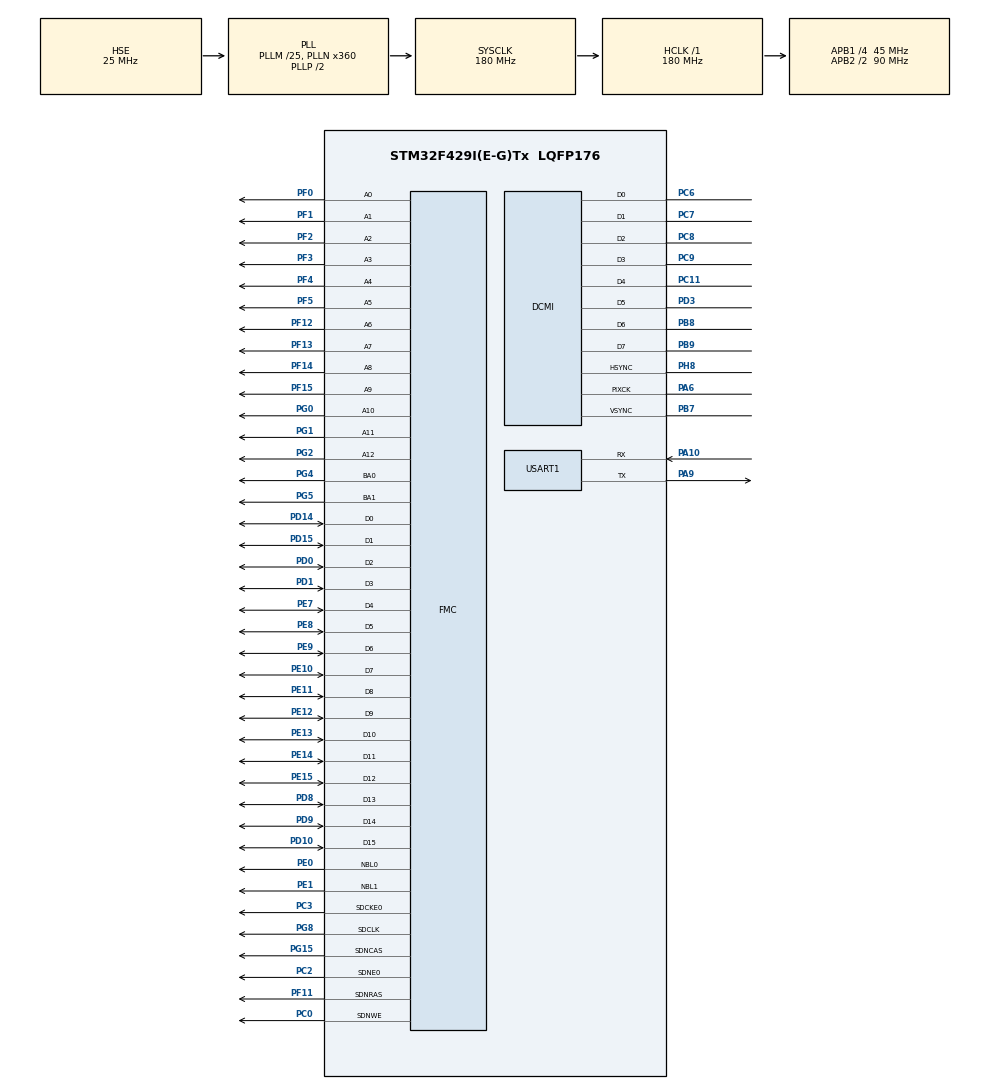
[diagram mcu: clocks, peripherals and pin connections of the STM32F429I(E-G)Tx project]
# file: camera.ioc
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DCMI.PCKPolarity=DCMI_PCKPOLARITY_RISING
Dma.DCMI.0.Direction=DMA_PERIPH_TO_MEMORY
Dma.DCMI.0.FIFOMode=DMA_FIFOMODE_ENABLE
Dma.DCMI.0.FIFOThreshold=DMA_FIFO_THRESHOLD_HALFFULL
Dma.DCMI.0.Instance=DMA2_Stream1
Dma.DCMI.0.MemBurst=DMA_MBURST_SINGLE
Dma.DCMI.0.MemDataAlignment=DMA_MDATAALIGN_WORD
Dma.DCMI.0.MemInc=DMA_MINC_ENABLE
Dma.DCMI.0.Mode=DMA_CIRCULAR
Dma.DCMI.0.PeriphBurst=DMA_PBURST_SINGLE
Dma.DCMI.0.PeriphDataAlignment=DMA_PDATAALIGN_WORD
Dma.DCMI.0.PeriphInc=DMA_PINC_DISABLE
Dma.DCMI.0.Priority=DMA_PRIORITY_HIGH
Dma.Request0=DCMI
FMC.CASLatency1=FMC_SDRAM_CAS_LATENCY_3
FMC.ColumnBitsNumber1=FMC_SDRAM_COLUMN_BITS_NUM_9
FMC.ExitSelfRefreshDelay1=8
FMC.LoadToActiveDelay1=2
FMC.RCDDelay1=2
FMC.RPDelay1=2
FMC.RPDelay2=2
FMC.ReadBurst1=FMC_SDRAM_RBURST_ENABLE
FMC.ReadBurst2=FMC_SDRAM_RBURST_ENABLE
FMC.ReadPipeDelay1=FMC_SDRAM_RPIPE_DELAY_1
FMC.ReadPipeDelay2=FMC_SDRAM_RPIPE_DELAY_1
FMC.RowCycleDelay1=6
FMC.RowCycleDelay2=6
FMC.SDClockPeriod1=FMC_SDRAM_CLOCK_PERIOD_2
FMC.SDClockPeriod2=FMC_SDRAM_CLOCK_PERIOD_2
FMC.SelfRefreshTime1=6
FMC.WriteRecoveryTime1=4
Mcu.Family=STM32F4
Mcu.Name=STM32F429I(E-G)Tx
Mcu.Package=LQFP176
NVIC.DCMI_IRQn=true\:0\:0\:false\:false\:true\:true
NVIC.DMA2_Stream1_IRQn=true\:0\:0\:false\:false\:true\:false
NVIC.PriorityGroup=NVIC_PRIORITYGROUP_4
PA10.Mode=Asynchronous
PA10.Signal=USART1_RX
PA6.GPIO_PuPd=GPIO_PULLUP
PA6.GPIO_Speed=GPIO_SPEED_FREQ_HIGH
PA6.Mode=Slave_8_bits_External_Synchro
PA6.Signal=DCMI_PIXCK
PA9.Mode=Asynchronous
PA9.Signal=USART1_TX
PB7.GPIO_PuPd=GPIO_PULLUP
PB7.GPIO_Speed=GPIO_SPEED_FREQ_HIGH
PB7.Mode=Slave_8_bits_External_Synchro
PB7.Signal=DCMI_VSYNC
PB8.GPIO_PuPd=GPIO_PULLUP
PB8.GPIO_Speed=GPIO_SPEED_FREQ_HIGH
PB8.Mode=Slave_8_bits_External_Synchro
PB8.Signal=DCMI_D6
PB9.GPIO_PuPd=GPIO_PULLUP
PB9.GPIO_Speed=GPIO_SPEED_FREQ_HIGH
PB9.Mode=Slave_8_bits_External_Synchro
PB9.Signal=DCMI_D7
PC0.Signal=FMC_SDNWE
PC11.GPIO_PuPd=GPIO_PULLUP
PC11.GPIO_Speed=GPIO_SPEED_FREQ_HIGH
PC11.Mode=Slave_8_bits_External_Synchro
PC11.Signal=DCMI_D4
PC2.Mode=SdramChipSelect1_1
PC2.Signal=FMC_SDNE0
PC3.Mode=SdramChipSelect1_1
PC3.Signal=FMC_SDCKE0
PC6.GPIO_PuPd=GPIO_PULLUP
PC6.GPIO_Speed=GPIO_SPEED_FREQ_HIGH
PC6.Mode=Slave_8_bits_External_Synchro
PC6.Signal=DCMI_D0
PC7.GPIO_PuPd=GPIO_PULLUP
PC7.GPIO_Speed=GPIO_SPEED_FREQ_HIGH
PC7.Mode=Slave_8_bits_External_Synchro
PC7.Signal=DCMI_D1
PC8.GPIO_PuPd=GPIO_PULLUP
PC8.GPIO_Speed=GPIO_SPEED_FREQ_HIGH
PC8.Mode=Slave_8_bits_External_Synchro
PC8.Signal=DCMI_D2
PC9.GPIO_PuPd=GPIO_PULLUP
PC9.GPIO_Speed=GPIO_SPEED_FREQ_HIGH
PC9.Mode=Slave_8_bits_External_Synchro
PC9.Signal=DCMI_D3
PD0.Signal=FMC_D2_DA2
PD1.Signal=FMC_D3_DA3
PD10.Signal=FMC_D15_DA15
PD14.Signal=FMC_D0_DA0
PD15.Signal=FMC_D1_DA1
PD3.GPIO_PuPd=GPIO_PULLUP
PD3.GPIO_Speed=GPIO_SPEED_FREQ_HIGH
PD3.Mode=Slave_8_bits_External_Synchro
PD3.Signal=DCMI_D5
PD8.Signal=FMC_D13_DA13
PD9.Signal=FMC_D14_DA14
PE0.Signal=FMC_NBL0
PE1.Signal=FMC_NBL1
PE10.Signal=FMC_D7_DA7
PE11.Signal=FMC_D8_DA8
PE12.Signal=FMC_D9_DA9
PE13.Signal=FMC_D10_DA10
PE14.Signal=FMC_D11_DA11
PE15.Signal=FMC_D12_DA12
PE7.Signal=FMC_D4_DA4
PE8.Signal=FMC_D5_DA5
PE9.Signal=FMC_D6_DA6
PF0.Signal=FMC_A0
PF1.Signal=FMC_A1
PF11.Signal=FMC_SDNRAS
PF12.Signal=FMC_A6
PF13.Signal=FMC_A7
PF14.Signal=FMC_A8
PF15.Signal=FMC_A9
PF2.Signal=FMC_A2
PF3.Signal=FMC_A3
PF4.Signal=FMC_A4
PF5.Signal=FMC_A5
PG0.Signal=FMC_A10
PG1.Signal=FMC_A11
PG15.Signal=FMC_SDNCAS
PG2.Signal=FMC_A12
PG4.Signal=FMC_A14_BA0
PG5.Signal=FMC_A15_BA1
PG8.Signal=FMC_SDCLK
PH0/OSC_IN.Mode=HSE-External-Oscillator
PH0/OSC_IN.Signal=RCC_OSC_IN
PH1/OSC_OUT.Mode=HSE-External-Oscillator
PH1/OSC_OUT.Signal=RCC_OSC_OUT
PH8.GPIO_PuPd=GPIO_PULLUP
PH8.GPIO_Speed=GPIO_SPEED_FREQ_HIGH
PH8.Mode=Slave_8_bits_External_Synchro
PH8.Signal=DCMI_HSYNC
ProjectManager.HeapSize=0x200
ProjectManager.StackSize=0x400
ProjectManager.TargetToolchain=MDK-ARM V5
RCC.48MHZClocksFreq_Value=90000000
RCC.AHBFreq_Value=180000000
RCC.APB1CLKDivider=RCC_HCLK_DIV4
RCC.APB1Freq_Value=45000000
RCC.APB1TimFreq_Value=90000000
RCC.APB2CLKDivider=RCC_HCLK_DIV2
RCC.APB2Freq_Value=90000000
RCC.APB2TimFreq_Value=180000000
RCC.CortexFreq_Value=180000000
RCC.HCLKFreq_Value=180000000
RCC.HSE_VALUE=25000000
RCC.HSI_VALUE=16000000
RCC.LSE_VALUE=32768
RCC.PLLM=25
RCC.PLLN=360
RCC.PLLSourceVirtual=RCC_PLLSOURCE_HSE
RCC.SYSCLKFreq_VALUE=180000000
RCC.SYSCLKSource=RCC_SYSCLKSOURCE_PLLCLK
RCC.VCOOutputFreq_Value=360000000
SH.FMC_A0.0=FMC_A0,13b-sda1
SH.FMC_A1.0=FMC_A1,13b-sda1
SH.FMC_A10.0=FMC_A10,13b-sda1
SH.FMC_A11.0=FMC_A11,13b-sda1
SH.FMC_A12.0=FMC_A12,13b-sda1
SH.FMC_A14_BA0.0=FMC_BA0,FourSdramBanks1
SH.FMC_A15_BA1.0=FMC_BA1,FourSdramBanks1
SH.FMC_A2.0=FMC_A2,13b-sda1
SH.FMC_A3.0=FMC_A3,13b-sda1
SH.FMC_A4.0=FMC_A4,13b-sda1
SH.FMC_A5.0=FMC_A5,13b-sda1
SH.FMC_A6.0=FMC_A6,13b-sda1
SH.FMC_A7.0=FMC_A7,13b-sda1
SH.FMC_A8.0=FMC_A8,13b-sda1
SH.FMC_A9.0=FMC_A9,13b-sda1
SH.FMC_D0_DA0.0=FMC_D0,sd-16b-d1
SH.FMC_D10_DA10.0=FMC_D10,sd-16b-d1
SH.FMC_D11_DA11.0=FMC_D11,sd-16b-d1
SH.FMC_D12_DA12.0=FMC_D12,sd-16b-d1
SH.FMC_D13_DA13.0=FMC_D13,sd-16b-d1
SH.FMC_D14_DA14.0=FMC_D14,sd-16b-d1
SH.FMC_D15_DA15.0=FMC_D15,sd-16b-d1
SH.FMC_D1_DA1.0=FMC_D1,sd-16b-d1
SH.FMC_D2_DA2.0=FMC_D2,sd-16b-d1
SH.FMC_D3_DA3.0=FMC_D3,sd-16b-d1
SH.FMC_D4_DA4.0=FMC_D4,sd-16b-d1
SH.FMC_D5_DA5.0=FMC_D5,sd-16b-d1
SH.FMC_D6_DA6.0=FMC_D6,sd-16b-d1
SH.FMC_D7_DA7.0=FMC_D7,sd-16b-d1
SH.FMC_D8_DA8.0=FMC_D8,sd-16b-d1
SH.FMC_D9_DA9.0=FMC_D9,sd-16b-d1
SH.FMC_NBL0.0=FMC_NBL0,Sd2ByteEnable1
SH.FMC_NBL1.0=FMC_NBL1,Sd2ByteEnable1
SH.FMC_SDCLK.0=FMC_SDCLK,13b-sda1
SH.FMC_SDNCAS.0=FMC_SDNCAS,13b-sda1
SH.FMC_SDNRAS.0=FMC_SDNRAS,13b-sda1
SH.FMC_SDNWE.0=FMC_SDNWE,13b-sda1
USART1.VirtualMode=VM_ASYNC
board=camera

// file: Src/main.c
/**
  ******************************************************************************
  * File Name          : main.c
  * Description        : Main program body
  ******************************************************************************
  ** This notice applies to any and all portions of this file
  * that are not between comment pairs USER CODE BEGIN and
  * USER CODE END. Other portions of this file, whether
  * inserted by the user or by software development tools
  * are owned by their respective copyright owners.
  *
  * COPYRIGHT(c) 2018 STMicroelectronics
  *
  * Redistribution and use in source and binary forms, with or without modification,
  * are permitted provided that the following conditions are met:
  *   1. Redistributions of source code must retain the above copyright notice,
  *      this list of conditions and the following disclaimer.
  *   2. Redistributions in binary form must reproduce the above copyright notice,
  *      this list of conditions and the following disclaimer in the documentation
  *      and/or other materials provided with the distribution.
  *   3. Neither the name of STMicroelectronics nor the names of its contributors
  *      may be used to endorse or promote products derived from this software
  *      without specific prior written permission.
  *
  * THIS SOFTWARE IS PROVIDED BY THE COPYRIGHT HOLDERS AND CONTRIBUTORS "AS IS"
  * AND ANY EXPRESS OR IMPLIED WARRANTIES, INCLUDING, BUT NOT LIMITED TO, THE
  * IMPLIED WARRANTIES OF MERCHANTABILITY AND FITNESS FOR A PARTICULAR PURPOSE ARE
  * DISCLAIMED. IN NO EVENT SHALL THE COPYRIGHT HOLDER OR CONTRIBUTORS BE LIABLE
  * FOR ANY DIRECT, INDIRECT, INCIDENTAL, SPECIAL, EXEMPLARY, OR CONSEQUENTIAL
  * DAMAGES (INCLUDING, BUT NOT LIMITED TO, PROCUREMENT OF SUBSTITUTE GOODS OR
  * SERVICES; LOSS OF USE, DATA, OR PROFITS; OR BUSINESS INTERRUPTION) HOWEVER
  * CAUSED AND ON ANY THEORY OF LIABILITY, WHETHER IN CONTRACT, STRICT LIABILITY,
  * OR TORT (INCLUDING NEGLIGENCE OR OTHERWISE) ARISING IN ANY WAY OUT OF THE USE
  * OF THIS SOFTWARE, EVEN IF ADVISED OF THE POSSIBILITY OF SUCH DAMAGE.
  *
  ******************************************************************************
  */

#include "main.h"
#include "stm32f4xx_hal.h"

/* USER CODE BEGIN Includes */
#include "stdio.h"
#include "sys.h"
#include "pcf8574.h"
#include "led.h"
#include "ov5640.h"
#include "dcmi.h"
/* USER CODE END Includes */

DCMI_HandleTypeDef hdcmi;
DMA_HandleTypeDef hdma_dcmi;

UART_HandleTypeDef huart1;

SDRAM_HandleTypeDef hsdram1;

/* USER CODE BEGIN PV */
/* Private variables ---------------------------------------------------------*/
void SDRAM_Initialization_Sequence(SDRAM_HandleTypeDef *hsdram);
/* USER CODE END PV */

void SystemClock_Config(void);
static void MX_GPIO_Init(void);
static void MX_DMA_Init(void);
static void MX_FMC_Init(void);
static void MX_USART1_UART_Init(void);
static void MX_DCMI_Init(void);

/* USER CODE BEGIN PFP */
/* Private function prototypes -----------------------------------------------*/

/* USER CODE END PFP */

/* USER CODE BEGIN 0 */

int fputc(int ch, FILE *pf)
{
    uint8_t c = ch & 0xff;
    HAL_UART_Transmit(&huart1, &c, 1, 0xfffff);
    return ch;
}

#define jpeg_buf_size   30*1024*1024		//定义JPEG数据缓存jpeg_buf的大小(1*4M字节)
#define jpeg_line_size	2*1024			//定义DMA接收数据时,一行数据的最大值

u32 dcmi_line_buf[2][jpeg_line_size] ;	//RGB屏时,摄像头采用一行一行读取,定义行缓存
u32 jpeg_data_buf[jpeg_buf_size] __attribute__((at(0XC0000000+1280*800*2)));//JPEG数据缓存buf,定义在LCD帧缓存之后

volatile u32 jpeg_data_len=0; 			//buf中的JPEG有效数据长度
volatile u8 jpeg_data_ok=0;				//JPEG数据采集完成标志
										//0,数据没有采集完;
										//1,数据采集完了,但是还没处理;
										//2,数据已经处理完成了,可以开始下一帧接收

//处理JPEG数据
//当采集完一帧JPEG数据后,调用此函数,切换JPEG BUF.开始下一帧采集.
void jpeg_data_process(void)
{
	u16 i;
	u16 rlen;//剩余数据长度
	u32 *pbuf;
    printf("00");
    if(jpeg_data_ok==0)	//jpeg数据还未采集完?
    {
        LED1=!LED1;
        __HAL_DMA_DISABLE(&hdma_dcmi);//关闭DMA
        rlen=jpeg_line_size-__HAL_DMA_GET_COUNTER(&hdma_dcmi);//得到剩余数据长度
        pbuf=jpeg_data_buf+jpeg_data_len;//偏移到有效数据末尾,继续添加
        if(hdma_dcmi.Instance->CR&(1<<19))for(i=0;i<rlen;i++)pbuf[i]=dcmi_line_buf[1][i];//读取buf1里面的剩余数据
        else for(i=0;i<rlen;i++)pbuf[i]=dcmi_line_buf[0][i];//读取buf0里面的剩余数据
        jpeg_data_len+=rlen;			//加上剩余长度
        jpeg_data_ok=1; 				//标记JPEG数据采集完成,等待其他函数处理
    }
    if(jpeg_data_ok==2)	//上一次的jpeg数据已经被处理了
    {

        __HAL_DMA_SET_COUNTER(&hdma_dcmi,jpeg_line_size);	//传输长度为jpeg_buf_size*4字节
        __HAL_DMA_ENABLE(&hdma_dcmi); //打开DMA
        jpeg_data_ok=0;					    //标记数据未采集
        jpeg_data_len=0;				    //数据重新开始
    }

}

//jpeg数据接收回调函数
void jpeg_dcmi_rx_callback(void)
{
	u16 i;
	u32 *pbuf;
    printf("11");
	pbuf=jpeg_data_buf+jpeg_data_len;//偏移到有效数据末尾
	if(hdma_dcmi.Instance->CR&(1<<19))//buf0已满,正常处理buf1
	{
		for(i=0;i<jpeg_line_size;i++)pbuf[i]=dcmi_line_buf[0][i];//读取buf0里面的数据
		jpeg_data_len+=jpeg_line_size;//偏移
	}else //buf1已满,正常处理buf0
	{
		for(i=0;i<jpeg_line_size;i++)pbuf[i]=dcmi_line_buf[1][i];//读取buf1里面的数据
		jpeg_data_len+=jpeg_line_size;//偏移
	}
}

//JPEG尺寸支持列表(最大是800*600,如果分辨率再高,上位机会死...)
const u16 jpeg_img_size_tbl[][2]=
{
	160,120,	//QQVGA
	176,144,	//QCIF
	320,240,	//QVGA
	400,240,	//WQVGA
	352,288,	//CIF
	640,480,	//VGA
	800,600,	//SVGA
};
const u8*EFFECTS_TBL[7]={"Normal","Cool","Warm","B&W","Yellowish ","Inverse","Greenish"};	//7种特效
const u8*JPEG_SIZE_TBL[7]={"QQVGA","QCIF","QVGA","WQVGA","CIF","VGA","SVGA"};				//JPEG图片 7种尺寸

void jpeg_test(void)
{
	u32 i,jpgstart,jpglen;
	u8 *p;
	u8 key,headok=0;
	u8 effect=0,contrast=2;
	u8 size=2;			//默认是QVGA 320*240尺寸
	u8 msgbuf[15];		//消息缓存区

	//自动对焦初始化
	OV5640_RGB565_Mode();	//RGB565模式
	OV5640_Focus_Init();

 	OV5640_JPEG_Mode();		//JPEG模式

	OV5640_Light_Mode(0);	//自动模式
	OV5640_Color_Saturation(3);//色彩饱和度0
	OV5640_Brightness(4);	//亮度0
	OV5640_Contrast(3);		//对比度0
	OV5640_Sharpness(33);	//自动锐度
	OV5640_Focus_Constant();//启动持续对焦

	//MX_DCMI_Init();//DCMI_Init();			//DCMI配置
	dcmi_rx_callback=jpeg_dcmi_rx_callback;//JPEG接收数据回调函数
    DCMI_DMA_Init((u32)&dcmi_line_buf[0],(u32)&dcmi_line_buf[1],jpeg_line_size,DMA_MDATAALIGN_WORD,DMA_MINC_ENABLE);
 	OV5640_OutSize_Set(4,0,jpeg_img_size_tbl[size][0],jpeg_img_size_tbl[size][1]);//设置输出尺寸
	DCMI_Start(); 		//启动传输
	while(1)
	{
		if(jpeg_data_ok==1)	//已经采集完一帧图像了
		{
			p=(u8*)jpeg_data_buf;

			jpglen=0;	//设置jpg文件大小为0
			headok=0;	//清除jpg头标记
			for(i=0;i<jpeg_data_len*4;i++)//查找0XFF,0XD8和0XFF,0XD9,获取jpg文件大小
			{
				if((p[i]==0XFF)&&(p[i+1]==0XD8))//找到FF D8
				{
					jpgstart=i;
					headok=1;	//标记找到jpg头(FF D8)
				}
				if((p[i]==0XFF)&&(p[i+1]==0XD9)&&headok)//找到头以后,再找FF D9
				{
					jpglen=i-jpgstart+2;
					break;
				}
			}
			jpeg_data_ok=2;	//标记jpeg数据处理完了,可以让DMA去采集下一帧了.

		}
	}
}

/* USER CODE END 0 */

int main(void)
{

  /* USER CODE BEGIN 1 */
    int res;
  /* USER CODE END 1 */

  /* MCU Configuration----------------------------------------------------------*/

  /* Reset of all peripherals, Initializes the Flash interface and the Systick. */
  HAL_Init();

  /* Configure the system clock */
  SystemClock_Config();

  /* Initialize all configured peripherals */
  MX_GPIO_Init();
  MX_DMA_Init();
  MX_FMC_Init();
  MX_USART1_UART_Init();
  MX_DCMI_Init();

  /* USER CODE BEGIN 2 */
    SDRAM_Initialization_Sequence(&hsdram1);

    PCF8574_Init();
    LED_Init();

    res = OV5640_Init();
    printf("ov init %d\n\r", res);

    jpeg_test();

  /* USER CODE END 2 */

  /* Infinite loop */
  while (1)
  {

  }

}

/** System Clock Configuration
*/
void SystemClock_Config(void)
{

  RCC_OscInitTypeDef RCC_OscInitStruct;
  RCC_ClkInitTypeDef RCC_ClkInitStruct;

    /**Configure the main internal regulator output voltage
    */
  __HAL_RCC_PWR_CLK_ENABLE();

  __HAL_PWR_VOLTAGESCALING_CONFIG(PWR_REGULATOR_VOLTAGE_SCALE1);

    /**Initializes the CPU, AHB and APB busses clocks
    */
  RCC_OscInitStruct.OscillatorType = RCC_OSCILLATORTYPE_HSE;
  RCC_OscInitStruct.HSEState = RCC_HSE_ON;
  RCC_OscInitStruct.PLL.PLLState = RCC_PLL_ON;
  RCC_OscInitStruct.PLL.PLLSource = RCC_PLLSOURCE_HSE;
  RCC_OscInitStruct.PLL.PLLM = 25;
  RCC_OscInitStruct.PLL.PLLN = 360;
  RCC_OscInitStruct.PLL.PLLP = RCC_PLLP_DIV2;
  RCC_OscInitStruct.PLL.PLLQ = 4;
  if (HAL_RCC_OscConfig(&RCC_OscInitStruct) != HAL_OK)
  {
    _Error_Handler(__FILE__, __LINE__);
  }

    /**Activate the Over-Drive mode
    */
  if (HAL_PWREx_EnableOverDrive() != HAL_OK)
  {
    _Error_Handler(__FILE__, __LINE__);
  }

    /**Initializes the CPU, AHB and APB busses clocks
    */
  RCC_ClkInitStruct.ClockType = RCC_CLOCKTYPE_HCLK|RCC_CLOCKTYPE_SYSCLK
                              |RCC_CLOCKTYPE_PCLK1|RCC_CLOCKTYPE_PCLK2;
  RCC_ClkInitStruct.SYSCLKSource = RCC_SYSCLKSOURCE_PLLCLK;
  RCC_ClkInitStruct.AHBCLKDivider = RCC_SYSCLK_DIV1;
  RCC_ClkInitStruct.APB1CLKDivider = RCC_HCLK_DIV4;
  RCC_ClkInitStruct.APB2CLKDivider = RCC_HCLK_DIV2;

  if (HAL_RCC_ClockConfig(&RCC_ClkInitStruct, FLASH_LATENCY_5) != HAL_OK)
  {
    _Error_Handler(__FILE__, __LINE__);
  }

    /**Configure the Systick interrupt time
    */
  HAL_SYSTICK_Config(HAL_RCC_GetHCLKFreq()/1000);

    /**Configure the Systick
    */
  HAL_SYSTICK_CLKSourceConfig(SYSTICK_CLKSOURCE_HCLK);

  /* SysTick_IRQn interrupt configuration */
  HAL_NVIC_SetPriority(SysTick_IRQn, 0, 0);
}

/* DCMI init function */
static void MX_DCMI_Init(void)
{

  hdcmi.Instance = DCMI;
  hdcmi.Init.SynchroMode = DCMI_SYNCHRO_HARDWARE;
  hdcmi.Init.PCKPolarity = DCMI_PCKPOLARITY_RISING;
  hdcmi.Init.VSPolarity = DCMI_VSPOLARITY_LOW;
  hdcmi.Init.HSPolarity = DCMI_HSPOLARITY_LOW;
  hdcmi.Init.CaptureRate = DCMI_CR_ALL_FRAME;
  hdcmi.Init.ExtendedDataMode = DCMI_EXTEND_DATA_8B;
  hdcmi.Init.JPEGMode = DCMI_JPEG_DISABLE;
  if (HAL_DCMI_Init(&hdcmi) != HAL_OK)
  {
    _Error_Handler(__FILE__, __LINE__);
  }

}

/* USART1 init function */
static void MX_USART1_UART_Init(void)
{

  huart1.Instance = USART1;
  huart1.Init.BaudRate = 115200;
  huart1.Init.WordLength = UART_WORDLENGTH_8B;
  huart1.Init.StopBits = UART_STOPBITS_1;
  huart1.Init.Parity = UART_PARITY_NONE;
  huart1.Init.Mode = UART_MODE_TX_RX;
  huart1.Init.HwFlowCtl = UART_HWCONTROL_NONE;
  huart1.Init.OverSampling = UART_OVERSAMPLING_16;
  if (HAL_UART_Init(&huart1) != HAL_OK)
  {
    _Error_Handler(__FILE__, __LINE__);
  }

}

static void MX_DMA_Init(void)
{
  /* DMA controller clock enable */
  __HAL_RCC_DMA2_CLK_ENABLE();

  /* DMA interrupt init */
  /* DMA2_Stream1_IRQn interrupt configuration */
  HAL_NVIC_SetPriority(DMA2_Stream1_IRQn, 0, 0);
  HAL_NVIC_EnableIRQ(DMA2_Stream1_IRQn);

}
/* FMC initialization function */
static void MX_FMC_Init(void)
{
  FMC_SDRAM_TimingTypeDef SdramTiming;

  /** Perform the SDRAM1 memory initialization sequence
  */
  hsdram1.Instance = FMC_SDRAM_DEVICE;
  /* hsdram1.Init */
  hsdram1.Init.SDBank = FMC_SDRAM_BANK1;
  hsdram1.Init.ColumnBitsNumber = FMC_SDRAM_COLUMN_BITS_NUM_9;
  hsdram1.Init.RowBitsNumber = FMC_SDRAM_ROW_BITS_NUM_13;
  hsdram1.Init.MemoryDataWidth = FMC_SDRAM_MEM_BUS_WIDTH_16;
  hsdram1.Init.InternalBankNumber = FMC_SDRAM_INTERN_BANKS_NUM_4;
  hsdram1.Init.CASLatency = FMC_SDRAM_CAS_LATENCY_3;
  hsdram1.Init.WriteProtection = FMC_SDRAM_WRITE_PROTECTION_DISABLE;
  hsdram1.Init.SDClockPeriod = FMC_SDRAM_CLOCK_PERIOD_2;
  hsdram1.Init.ReadBurst = FMC_SDRAM_RBURST_ENABLE;
  hsdram1.Init.ReadPipeDelay = FMC_SDRAM_RPIPE_DELAY_1;
  /* SdramTiming */
  SdramTiming.LoadToActiveDelay = 2;
  SdramTiming.ExitSelfRefreshDelay = 8;
  SdramTiming.SelfRefreshTime = 6;
  SdramTiming.RowCycleDelay = 6;
  SdramTiming.WriteRecoveryTime = 4;
  SdramTiming.RPDelay = 2;
  SdramTiming.RCDDelay = 2;

  if (HAL_SDRAM_Init(&hsdram1, &SdramTiming) != HAL_OK)
  {
    _Error_Handler(__FILE__, __LINE__);
  }

}

/** Configure pins as
        * Analog
        * Input
        * Output
        * EVENT_OUT
        * EXTI
*/
static void MX_GPIO_Init(void)
{

  /* GPIO Ports Clock Enable */
  __HAL_RCC_GPIOF_CLK_ENABLE();
  __HAL_RCC_GPIOH_CLK_ENABLE();
  __HAL_RCC_GPIOC_CLK_ENABLE();
  __HAL_RCC_GPIOA_CLK_ENABLE();
  __HAL_RCC_GPIOG_CLK_ENABLE();
  __HAL_RCC_GPIOE_CLK_ENABLE();
  __HAL_RCC_GPIOD_CLK_ENABLE();
  __HAL_RCC_GPIOB_CLK_ENABLE();

}

/* USER CODE BEGIN 4 */

u8 SDRAM_Send_Cmd(u8 bankx,u8 cmd,u8 refresh,u16 regval)
{
    u32 target_bank=0;
    FMC_SDRAM_CommandTypeDef Command;

    if(bankx==0) target_bank=FMC_SDRAM_CMD_TARGET_BANK1;
    else if(bankx==1) target_bank=FMC_SDRAM_CMD_TARGET_BANK2;
    Command.CommandMode=cmd;                //命令
    Command.CommandTarget=target_bank;      //目标SDRAM存储区域
    Command.AutoRefreshNumber=refresh;      //自刷新次数
    Command.ModeRegisterDefinition=regval;  //要写入模式寄存器的值
    if(HAL_SDRAM_SendCommand(&hsdram1,&Command,0X1000)==HAL_OK) //向SDRAM发送命令
    {
        return 0;
    }
    else return 1;
}

//发送SDRAM初始化序列
void SDRAM_Initialization_Sequence(SDRAM_HandleTypeDef *hsdram)
{
    u32 temp=0;
    //SDRAM控制器初始化完成以后还需要按照如下顺序初始化SDRAM
    SDRAM_Send_Cmd(0,FMC_SDRAM_CMD_CLK_ENABLE,1,0); //时钟配置使能
    HAL_Delay(1);//delay_us(500);                                  //至少延时200us
    SDRAM_Send_Cmd(0,FMC_SDRAM_CMD_PALL,1,0);       //对所有存储区预充电
    SDRAM_Send_Cmd(0,FMC_SDRAM_CMD_AUTOREFRESH_MODE,8,0);//设置自刷新次数
    //配置模式寄存器,SDRAM的bit0~bit2为指定突发访问的长度，
	  //bit3为指定突发访问的类型，bit4~bit6为CAS值，bit7和bit8为运行模式
	  //bit9为指定的写突发模式，bit10和bit11位保留位
	  temp=(u32)SDRAM_MODEREG_BURST_LENGTH_1          |	//设置突发长度:1(可以是1/2/4/8)
              SDRAM_MODEREG_BURST_TYPE_SEQUENTIAL   |	//设置突发类型:连续(可以是连续/交错)
              SDRAM_MODEREG_CAS_LATENCY_3           |	//设置CAS值:3(可以是2/3)
              SDRAM_MODEREG_OPERATING_MODE_STANDARD |   //设置操作模式:0,标准模式
              SDRAM_MODEREG_WRITEBURST_MODE_SINGLE;     //设置突发写模式:1,单点访问
    SDRAM_Send_Cmd(0,FMC_SDRAM_CMD_LOAD_MODE,1,temp);   //设置SDRAM的模式寄存器

    //刷新频率计数器(以SDCLK频率计数),计算方法:
	  //COUNT=SDRAM刷新周期/行数-20=SDRAM刷新周期(us)*SDCLK频率(Mhz)/行数
    //我们使用的SDRAM刷新周期为64ms,SDCLK=180/2=90Mhz,行数为8192(2^13).
	  //所以,COUNT=64*1000*90/8192-20=683
	HAL_SDRAM_ProgramRefreshRate(&hsdram1,683);

}
/* USER CODE END 4 */

void _Error_Handler(char * file, int line)
{
  while(1)
  {
  }
}

/************************ (C) COPYRIGHT STMicroelectronics *****END OF FILE****/
